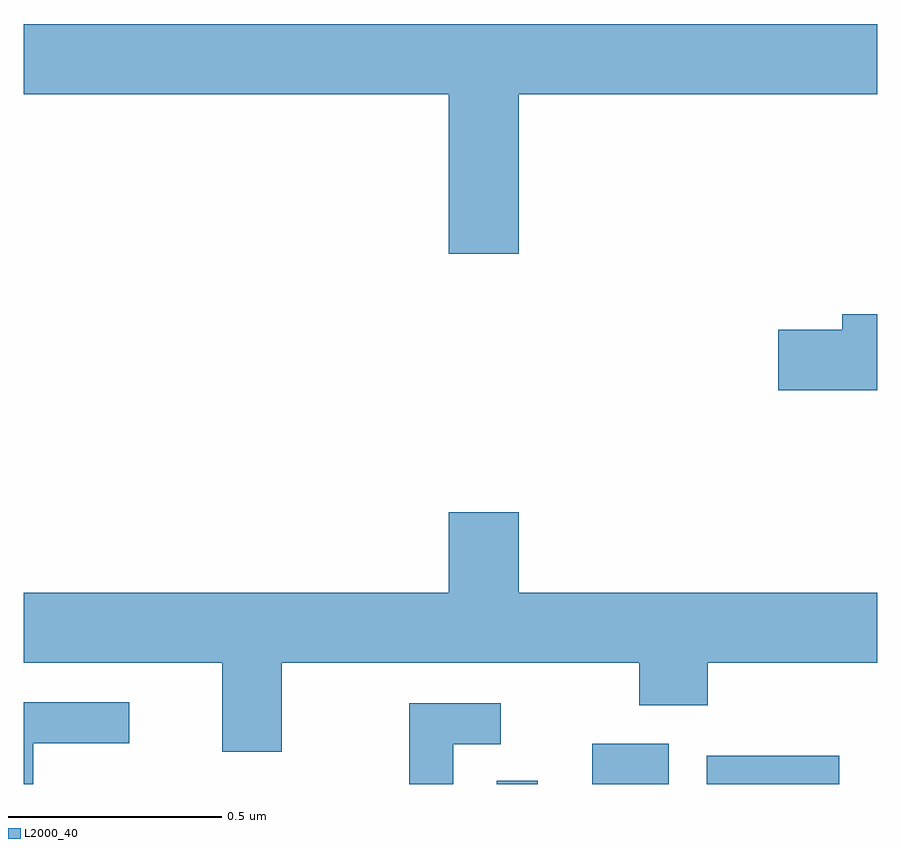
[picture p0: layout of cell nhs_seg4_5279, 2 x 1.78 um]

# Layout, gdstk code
import gdstk
lib = gdstk.Library(unit=1e-6, precision=1e-09)
def R(c, l, rs):  # rectangles x0, y0, x1, y1
    for r in rs: c.add(gdstk.rectangle(r[:2], r[2:], *l))
def P(c, l, *ps):  # polygons
    for p in ps: c.add(gdstk.Polygon(p, *l))
L2000_40 = (2000, 40)

nhs_seg4_5279 = lib.new_cell('nhs_seg4_5279')
R(nhs_seg4_5279, L2000_40, [(177.108,765.9,177.204,765.908), (177.332,765.9,177.511,765.994), (177.6,765.9,177.91,765.966)])
P(nhs_seg4_5279, L2000_40, [(177.16,767.516),(178,767.516),(178,767.68),(176,767.68),(176,767.516),(176.996,767.516),(176.996,767.142),(177.16,767.142)],
  [(178,767),(177.917,767),(177.917,766.964),(177.768,766.964),(177.768,766.822),(178,766.822)],
  [(176.605,766.184),(177.442,766.184),(177.442,766.085),(177.602,766.085),(177.602,766.184),(178,766.184),(178,766.348),(177.16,766.348),(177.16,766.537),(176.996,766.537),(176.996,766.348),(176,766.348),(176,766.184),(176.465,766.184),(176.465,765.976),(176.605,765.976)],
  [(176.023,765.996),(176.248,765.996),(176.248,766.092),(176,766.092),(176,765.9),(176.023,765.9)],
  [(177.007,765.993),(177.118,765.993),(177.118,766.089),(176.903,766.089),(176.903,765.9),(177.007,765.9)])

lib.write_gds('nhs_seg4_5279.gds')
